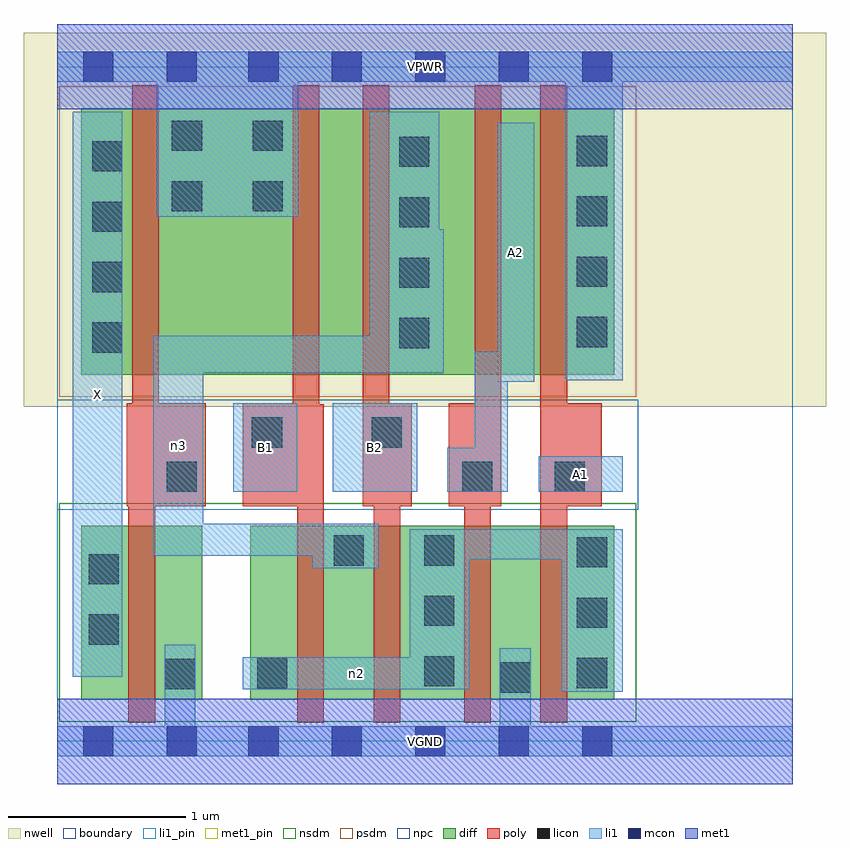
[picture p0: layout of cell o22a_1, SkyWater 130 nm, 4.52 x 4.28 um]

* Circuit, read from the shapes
.subckt o22a_1 A1 A2 B1 B2 VGND VPWR X n2 n3
XM1 VGND n3 X VSUBS sky130_fd_pr__nfet_01v8 w=0.98 l=0.15
XM2 n3 B1 n2 VSUBS sky130_fd_pr__nfet_01v8 w=0.98 l=0.15
XM3 n2 B2 n3 VSUBS sky130_fd_pr__nfet_01v8 w=0.98 l=0.15
XM4 VGND A2 n2 VSUBS sky130_fd_pr__nfet_01v8 w=0.98 l=0.15
XM5 n2 A1 VGND VSUBS sky130_fd_pr__nfet_01v8 w=0.98 l=0.15
XM6 VPWR n3 X n1 sky130_fd_pr__pfet_01v8 w=1.5 l=0.15
XM7 n4 B1 VPWR n1 sky130_fd_pr__pfet_01v8 w=1.5 l=0.15
XM8 n3 B2 n4 n1 sky130_fd_pr__pfet_01v8 w=1.5 l=0.15
XM9 n5 A2 n3 n1 sky130_fd_pr__pfet_01v8 w=1.5 l=0.15
XM10 VPWR A1 n5 n1 sky130_fd_pr__pfet_01v8 w=1.5 l=0.15
.ends

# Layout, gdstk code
import gdstk
lib = gdstk.Library(unit=1e-6, precision=1e-09)
def R(c, l, rs):  # rectangles x0, y0, x1, y1
    for r in rs: c.add(gdstk.rectangle(r[:2], r[2:], *l))
def A(c, l, x, y, w, h, nx, ny, dx, dy):  # array of equal rectangles
    R(c, l, [(x+i*dx, y+j*dy, x+i*dx+w, y+j*dy+h) for i in range(nx) for j in range(ny)])
nwell = (64, 20)
diff = (65, 20)
poly = (66, 20)
licon = (66, 44)
li1_pin = (67, 16)
li1 = (67, 20)
mcon = (67, 44)
met1_pin = (68, 16)
met1 = (68, 20)
nsdm = (93, 44)
psdm = (94, 20)
npc = (95, 20)
boundary = (235, 4)

o22a_1 = lib.new_cell('o22a_1')
R(o22a_1, nwell, [(-0.19,1.885,4.33,3.99), (0,1.885,4.14,3.99)])
R(o22a_1, diff, [(0.135,0.235,0.815,1.215), (1.085,0.235,3.135,1.215), (0.135,2.065,3.135,3.565)])
R(o22a_1, poly, [(0.4,0.105,0.55,1.905), (1.35,0.105,1.5,1.9), (1.78,0.105,1.93,1.905), (2.29,0.105,2.44,1.905), (2.72,0.105,2.87,3.695), (0.39,1.325,0.835,1.905), (0.42,1.325,0.57,3.695), (1.045,1.325,1.475,1.905), (1.325,1.325,1.475,3.695), (1.72,1.325,1.87,3.695), (1.72,1.325,1.995,1.905), (2.205,1.325,2.5,1.905), (2.35,1.325,2.5,3.695), (2.72,1.325,3.065,1.905)])
A(o22a_1, licon, 2.925, 0.3, 0.17, 0.17, 1, 3, 0, 0.34)
A(o22a_1, licon, 2.065, 0.31, 0.17, 0.17, 1, 3, 0, 0.34)
A(o22a_1, licon, 0.195, 2.19, 0.17, 0.17, 1, 4, 0, 0.34)
A(o22a_1, licon, 1.925, 2.215, 0.17, 0.17, 1, 4, 0, 0.34)
A(o22a_1, licon, 2.925, 2.22, 0.17, 0.17, 1, 4, 0, 0.34)
R(o22a_1, licon, [(2.495,0.275,2.665,0.445), (0.605,0.295,0.775,0.465), (1.125,0.3,1.295,0.47), (0.175,0.545,0.345,0.715), (0.175,0.885,0.345,1.055), (1.555,0.99,1.725,1.16), (0.615,1.405,0.785,1.575), (2.28,1.405,2.45,1.575), (2.8,1.405,2.97,1.575), (1.095,1.655,1.265,1.825), (1.77,1.655,1.94,1.825), (0.645,2.985,0.815,3.155), (1.1,2.985,1.27,3.155), (0.645,3.325,0.815,3.495), (1.1,3.325,1.27,3.495)])
R(o22a_1, li1_pin, [(0.085,0.365,0.365,3.545), (0.99,1.405,1.35,1.905), (1.55,1.405,2.025,1.905), (2.71,1.405,3.185,1.605), (2.48,2.025,2.685,3.485)])
R(o22a_1, li1, [(0,-0.085,4.14,0.085), (0.605,-0.085,0.775,0.545), (2.49,-0.085,2.665,0.525), (2.84,0.28,3.185,1.195), (1.045,0.295,2.32,0.475), (1.985,0.295,2.32,1.195), (0.085,0.365,0.365,3.545), (1.435,0.975,1.81,1.225), (1.985,1.025,3.185,1.195), (0.54,1.045,0.82,2.285), (0.54,1.045,1.81,1.225), (0.99,1.405,1.35,1.905), (1.55,1.405,2.025,1.905), (2.195,1.405,2.535,1.655), (2.35,1.405,2.535,2.195), (2.71,1.405,3.185,1.605), (2.48,2.025,2.685,3.485), (2.86,2.035,3.185,3.885), (0.54,2.075,2.175,2.285), (1.76,2.075,2.15,3.545), (1.76,2.075,2.175,2.885), (0.56,2.955,1.355,3.885), (0,3.715,4.14,3.885)])
A(o22a_1, mcon, 1.075, -0.085, 0.17, 0.17, 5, 2, 0.47, 3.8)
R(o22a_1, mcon, [(0.145,-0.085,0.315,0.085), (0.615,-0.085,0.785,0.085), (0.145,3.715,0.315,3.885), (0.615,3.715,0.785,3.885)])
R(o22a_1, met1_pin, [(0,-0.24,4.14,0.24), (0,3.56,4.14,4.04)])
R(o22a_1, met1, [(0,-0.24,4.14,0.24), (0,3.56,4.14,4.04)])
R(o22a_1, nsdm, [(0.01,0.11,3.26,1.34)])
R(o22a_1, psdm, [(0.01,1.94,3.26,3.69)])
R(o22a_1, npc, [(0,1.305,3.27,1.925)])
R(o22a_1, boundary, [(0,0,4.14,3.8)])
o22a_1.add(gdstk.Label('A1', (2.947,1.505), layer=67, texttype=5))
o22a_1.add(gdstk.Label('A2', (2.582,2.755), layer=67, texttype=5))
o22a_1.add(gdstk.Label('B1', (1.17,1.655), layer=67, texttype=5))
o22a_1.add(gdstk.Label('B2', (1.787,1.655), layer=67, texttype=5))
o22a_1.add(gdstk.Label('X', (0.225,1.955), layer=67, texttype=5))
o22a_1.add(gdstk.Label('n2', (1.682,0.385), layer=67, texttype=5))
o22a_1.add(gdstk.Label('n3', (0.68,1.665), layer=67, texttype=5))
o22a_1.add(gdstk.Label('VPWR', (2.07,3.8), layer=68, texttype=5))
o22a_1.add(gdstk.Label('VGND', (2.07,0), layer=68, texttype=5))
o22a_1.add(gdstk.Label('A1', (2.947,1.505), layer=67, texttype=16))
o22a_1.add(gdstk.Label('A2', (2.582,2.755), layer=67, texttype=16))
o22a_1.add(gdstk.Label('B1', (1.17,1.655), layer=67, texttype=16))
o22a_1.add(gdstk.Label('B2', (1.787,1.655), layer=67, texttype=16))
o22a_1.add(gdstk.Label('X', (0.225,1.955), layer=67, texttype=16))
o22a_1.add(gdstk.Label('VPWR', (2.07,3.8), layer=68, texttype=16))
o22a_1.add(gdstk.Label('VGND', (2.07,0), layer=68, texttype=16))

lib.write_gds('o22a_1.gds')
